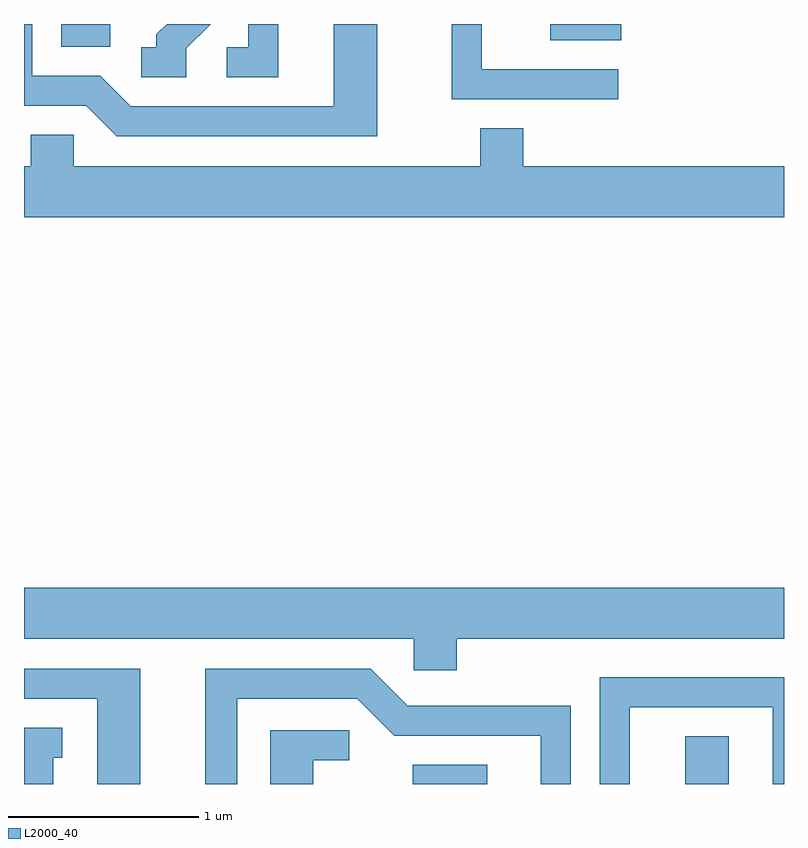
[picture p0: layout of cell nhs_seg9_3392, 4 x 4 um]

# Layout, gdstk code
import gdstk
lib = gdstk.Library(unit=1e-6, precision=1e-09)
def R(c, l, rs):  # rectangles x0, y0, x1, y1
    for r in rs: c.add(gdstk.rectangle(r[:2], r[2:], *l))
def P(c, l, *ps):  # polygons
    for p in ps: c.add(gdstk.Polygon(p, *l))
L2000_40 = (2000, 40)

nhs_seg9_3392 = lib.new_cell('nhs_seg9_3392')
R(nhs_seg9_3392, L2000_40, [(287.656,1944.432,288.049,1944.534), (289.091,1944.432,289.319,1944.684), (285.806,1948.311,286.064,1948.432)])
P(nhs_seg9_3392, L2000_40, [(287.469,1948.432),(287.241,1948.432),(287.241,1947.999),(286.172,1947.999),(286.012,1948.159),(285.654,1948.159),(285.654,1948.432),(285.611,1948.432),(285.611,1948.001),(285.939,1948.001),(286.099,1947.841),(287.469,1947.841)],
  [(288.754,1948.432),(288.186,1948.432),(288.186,1948.431),(288.381,1948.431),(288.381,1948.346),(288.754,1948.346)],
  [(286.464,1948.304),(286.593,1948.432),(286.361,1948.432),(286.306,1948.377),(286.306,1948.309),(286.228,1948.309),(286.228,1948.151),(286.464,1948.151)],
  [(286.949,1948.432),(286.791,1948.432),(286.791,1948.309),(286.678,1948.309),(286.678,1948.151),(286.949,1948.151)],
  [(288.738,1948.194),(288.019,1948.194),(288.019,1948.432),(287.861,1948.432),(287.861,1948.036),(288.738,1948.036)],
  [(289.611,1947.684),(288.239,1947.684),(288.239,1947.884),(288.011,1947.884),(288.011,1947.684),(285.874,1947.684),(285.874,1947.849),(285.646,1947.849),(285.646,1947.684),(285.611,1947.684),(285.611,1947.416),(289.611,1947.416)],
  [(287.889,1945.196),(289.611,1945.196),(289.611,1945.464),(285.611,1945.464),(285.611,1945.196),(287.661,1945.196),(287.661,1945.031),(287.889,1945.031)],
  [(286.224,1945.039),(285.611,1945.039),(285.611,1944.881),(285.996,1944.881),(285.996,1944.432),(286.224,1944.432)],
  [(286.734,1944.881),(287.364,1944.881),(287.559,1944.686),(288.331,1944.686),(288.331,1944.432),(288.489,1944.432),(288.489,1944.844),(287.632,1944.844),(287.437,1945.039),(286.566,1945.039),(286.566,1944.432),(286.734,1944.432)],
  [(288.799,1944.836),(289.551,1944.836),(289.551,1944.432),(289.611,1944.432),(289.611,1944.994),(288.641,1944.994),(288.641,1944.432),(288.799,1944.432)],
  [(285.764,1944.571),(285.813,1944.571),(285.813,1944.729),(285.611,1944.729),(285.611,1944.432),(285.764,1944.432)],
  [(287.134,1944.556),(287.323,1944.556),(287.323,1944.714),(286.906,1944.714),(286.906,1944.432),(287.134,1944.432)])

lib.write_gds('nhs_seg9_3392.gds')
